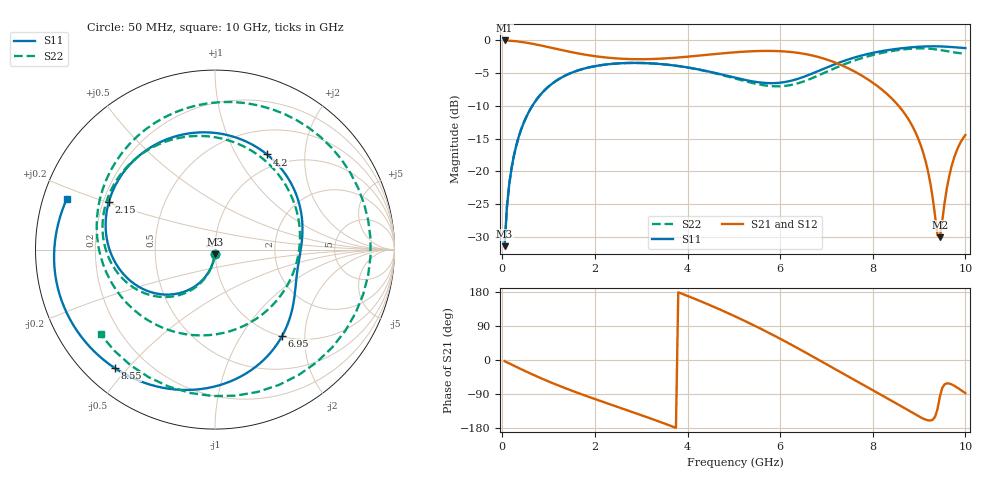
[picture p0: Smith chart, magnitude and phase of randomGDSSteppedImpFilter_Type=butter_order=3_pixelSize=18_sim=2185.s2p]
! freq	dB(S11)	phase(S11)	dB(S12)	phase(S12)
!  dB(S21)	phase(S21)	dB(S22)	phase(S22)
!S-par simulation data
#  GHz  S  DB  R 50
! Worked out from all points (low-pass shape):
!   200 points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, 50 MHz to 10 GHz, reference 50 ohm
!   highest |S21| = -0.01 dB at 50 MHz (marker M1); lowest = -30.1 dB at 9.45 GHz (marker M2)
!   |S21| within 3 dB of the highest: start of sweep to 7.043 GHz
!   lowest |S11| = -31.4 dB at 50 MHz (marker M3), VSWR 1.06, Z = 49.8 - j2.67 ohm
!   |S11| at or under -10 dB: start of sweep to 648.3 MHz
!   |S22| runs from -31.4 to -1.2 dB; largest |S21 - S12| = 0
!   S11 on the Smith chart (normalised r, x): 50 MHz: 1.00, -0.05; 2.15 GHz: 0.22, +0.20; 4.2 GHz: 0.81, +1.35; 6.95 GHz: 1.01, -1.54; 8.55 GHz: 0.09, -0.46; 10 GHz: 0.07, +0.16
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0.05  -31.44 -93.3  -0.01 -3.1  -0.01 -3.1  -31.44 -93.1
0.1  -25.45 -96.6  -0.02 -6.1  -0.02 -6.1  -25.44 -96.2
0.2  -19.52 -102.9  -0.07 -12.1  -0.07 -12.1  -19.52 -102.2
0.5  -11.98 -121.0  -0.32 -29.6  -0.32 -29.6  -11.98 -119.2
1.05  -6.75 -151.7  -1.11 -59.2  -1.11 -59.2  -6.75 -147.9
1.75  -4.34 174.0  -2.13 -92.2  -2.13 -92.2  -4.34 -179.5
2.15  -3.76 155.8  -2.54 -109.5  -2.54 -109.5  -3.76 164.1
3.4  -3.60 99.6  -2.80 -163.0  -2.80 -163.0  -3.60 113.8
4.2  -4.38 61.3  -2.36 159.2  -2.36 159.2  -4.40 77.4
5.05  -5.73 20.8  -1.80 113.8  -1.80 113.8  -5.87 28.8
5.85  -6.53 -10.8  -1.61 65.7  -1.61 65.7  -7.00 -35.0
6.7  -5.04 -41.3  -2.31 9.4  -2.31 9.4  -5.74 -119.5
6.95  -4.31 -52.1  -2.79 -7.8  -2.79 -7.8  -4.97 -144.0
7.3  -3.33 -68.5  -3.71 -31.9  -3.71 -31.9  -3.89 -176.9
7.65  -2.52 -85.8  -4.92 -55.8  -4.92 -55.8  -2.96 151.5
8.35  -1.46 -120.5  -8.46 -103.7  -8.46 -103.7  -1.70 87.7
8.55  -1.26 -130.3  -9.93 -117.6  -9.93 -117.6  -1.47 68.0
9.05  -0.95 -154.4  -16.31 -152.4  -16.31 -152.4  -1.22 10.9
9.25  -0.90 -164.0  -22.10 -159.6  -22.10 -159.6  -1.28 -16.8
9.45  -0.92 -173.6  -30.05 -96.1  -30.05 -96.1  -1.46 -47.9
9.7  -1.01 174.7  -19.28 -64.2  -19.28 -64.2  -1.77 -90.8
10  -1.18 161.2  -14.45 -87.7  -14.45 -87.7  -2.01 -143.5
